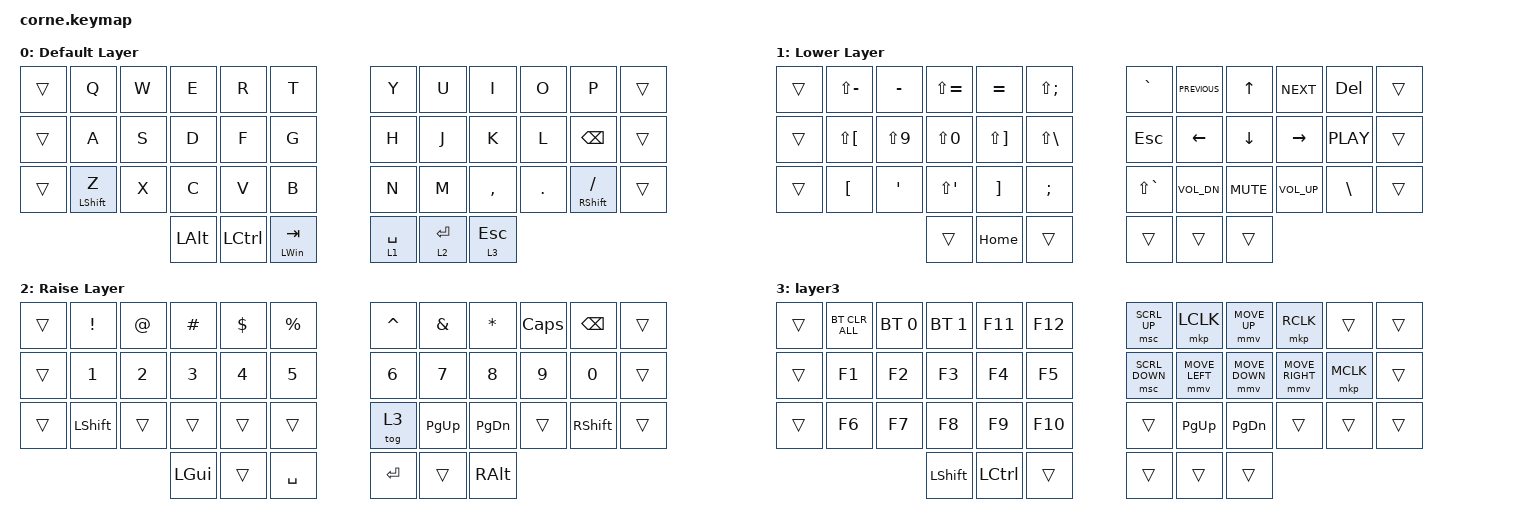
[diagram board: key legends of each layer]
/*
 * Copyright (c) 2020 The ZMK Contributors
 *
 * SPDX-License-Identifier: MIT
 */

#define ZMK_POINTING_DEFAULT_MOVE_VAL 1500  // default: 600
#define ZMK_POINTING_DEFAULT_SCRL_VAL 20    // default: 10

#include <behaviors.dtsi>
#include <dt-bindings/zmk/bt.h>
#include <dt-bindings/zmk/keys.h>
#include <dt-bindings/zmk/pointing.h>

/ {
    keymap {
        compatible = "zmk,keymap";

        default_layer {
            display-name = "Default Layer";

            // -----------------------------------------------------------------------------------------
            // |  TAB |  Q  |  W  |  E  |  R  |  T  |   |  Y  |  U   |  I  |  O  |  P  | BSPC |
            // | CTRL |  A  |  S  |  D  |  F  |  G  |   |  H  |  J   |  K  |  L  |  ;  |  '   |
            // | SHFT |  Z  |  X  |  C  |  V  |  B  |   |  N  |  M   |  ,  |  .  |  /  | ESC  |
            //                    | GUI | LWR | SPC |   | ENT | RSE  | ALT |

            bindings = <
&trans  &kp Q             &kp W  &kp E         &kp R             &kp T               &kp Y        &kp U        &kp I         &kp O    &kp P                  &trans
&trans  &kp A             &kp S  &kp D         &kp F             &kp G               &kp H        &kp J        &kp K         &kp L    &kp BACKSPACE          &trans
&trans  &mt LEFT_SHIFT Z  &kp X  &kp C         &kp V             &kp B               &kp N        &kp M        &kp COMMA     &kp DOT  &mt RIGHT_SHIFT SLASH  &trans
                                 &kp LEFT_ALT  &kp LEFT_CONTROL  &mt LEFT_WIN TAB    &lt 1 SPACE  &lt 2 ENTER  &lt 3 ESCAPE
            >;
        };

        layer1 {
            display-name = "Lower Layer";

            // -----------------------------------------------------------------------------------------
            // |  TAB |  1  |  2  |  3  |  4  |  5  |   |  6  |  7  |  8  |  9  |  0  | BSPC |
            // | BTCLR| BT1 | BT2 | BT3 | BT4 | BT5 |   | LFT | DWN |  UP | RGT |     |      |
            // | SHFT |     |     |     |     |     |   |     |     |     |     |     |      |
            //                    | GUI |     | SPC |   | ENT |     | ALT |

            bindings = <
&trans  &kp LS(MINUS)         &kp MINUS         &kp LS(EQUAL)  &kp EQUAL          &kp LS(SEMICOLON)    &kp GRAVE      &kp C_PREVIOUS  &kp UP_ARROW  &kp C_NEXT       &kp DELETE     &trans
&trans  &kp LS(LEFT_BRACKET)  &kp LS(N9)        &kp LS(N0)     &kp LS(RBKT)       &kp LS(BACKSLASH)    &kp ESCAPE     &kp LEFT_ARROW  &kp DOWN      &kp RIGHT        &kp C_PLAY     &trans
&trans  &kp LEFT_BRACKET      &kp SINGLE_QUOTE  &kp LS(APOS)   &kp RIGHT_BRACKET  &kp SEMICOLON        &kp LS(GRAVE)  &kp C_VOL_DN    &kp C_MUTE    &kp C_VOLUME_UP  &kp BACKSLASH  &trans
                                                &trans         &kp HOME           &trans               &trans         &trans          &trans
            >;
        };

        layer2 {
            display-name = "Raise Layer";

            // -----------------------------------------------------------------------------------------
            // |  TAB |  !  |  @  |  #  |  $  |  %  |   |  ^  |  &  |  *  |  (  |  )  | BSPC |
            // | CTRL |     |     |     |     |     |   |  -  |  =  |  [  |  ]  |  \  |  `   |
            // | SHFT |     |     |     |     |     |   |  _  |  +  |  {  |  }  | "|" |  ~   |
            //                    | GUI |     | SPC |   | ENT |     | ALT |

            bindings = <
&trans  &kp EXCL        &kp AT        &kp HASH      &kp DLLR      &kp PRCNT    &kp CARET     &kp AMPS     &kp ASTRK      &kp CLCK  &kp BACKSPACE    &trans
&trans  &kp NUMBER_1    &kp NUMBER_2  &kp NUMBER_3  &kp NUMBER_4  &kp N5       &kp NUMBER_6  &kp N7       &kp N8         &kp N9    &kp N0           &trans
&trans  &kp LEFT_SHIFT  &trans        &trans        &trans        &trans       &tog 3        &kp PAGE_UP  &kp PAGE_DOWN  &trans    &kp RIGHT_SHIFT  &trans
                                      &kp LGUI      &trans        &kp SPACE    &kp RET       &trans       &kp RALT
            >;
        };

        layer3 {
            bindings = <
&trans  &bt BT_CLR_ALL  &bt BT_SEL 0  &bt BT_SEL 1  &kp F11    &kp F12    &msc SCRL_UP    &mkp LCLK       &mmv MOVE_UP    &mkp RCLK        &trans     &trans
&trans  &kp F1          &kp F2        &kp F3        &kp F4     &kp F5     &msc SCRL_DOWN  &mmv MOVE_LEFT  &mmv MOVE_DOWN  &mmv MOVE_RIGHT  &mkp MCLK  &trans
&trans  &kp F6          &kp F7        &kp F8        &kp F9     &kp F10    &trans          &kp PAGE_UP     &kp PAGE_DOWN   &trans           &trans     &trans
                                      &kp LSHFT     &kp LCTRL  &trans     &trans          &trans          &trans
            >;
        };
    };
};
